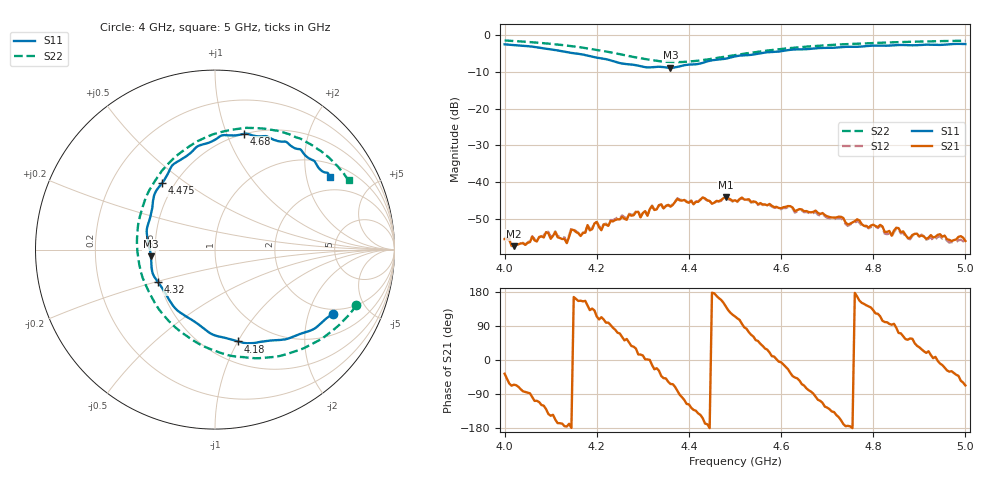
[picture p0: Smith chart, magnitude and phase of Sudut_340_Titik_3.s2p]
# Hz S RI R 50
! CMT, C1220, 16058040, 17.2.0/1
! Date: 15/08/2018 12:42:29
! Data: Format (Calibration Info)
! Freq  S11: Re/Im (F2)  S21: Re/Im (F2)  S12: Re/Im (F2)  S22: Re/Im (F2)
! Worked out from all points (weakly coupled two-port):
!   201 points, 4 GHz to 5 GHz, reference 50 ohm
!   highest |S21| = -44.10 dB at 4.48 GHz (marker M1); lowest = -57.4 dB at 4.02 GHz (marker M2)
!   lowest |S11| = -8.9 dB at 4.36 GHz (marker M3), VSWR 2.12, Z = 23.6 - j2.06 ohm
!   |S11| at or under -10 dB: nowhere
!   |S22| runs from -7.3 to -1.5 dB; largest |S21 - S12| = 0.00023
!   S11 on the Smith chart (normalised r, x): 4 GHz: 1.80, -2.92; 4.18 GHz: 0.71, -1.00; 4.32 GHz: 0.49, -0.20; 4.475 GHz: 0.43, +0.41; 4.68 GHz: 0.50, +1.15; 5 GHz: 1.45, +2.75
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4e9  0.6584 -0.3571  0.00136 -0.000995  0.0015 -0.000959  0.7868 -0.3107
4.02e9  0.6215 -0.3822  0.000568 -0.00123  0.000655 -0.00123  0.7529 -0.3558
4.09e9  0.4416 -0.4829  -0.00134 -0.00162  -0.00127 -0.00176  0.5888 -0.4999
4.135e9  0.292 -0.5088  -0.00148 -0.000117  -0.00152 -0.000143  0.4426 -0.5679
4.145e9  0.2522 -0.5141  -0.00228 -3.12e-05  -0.00239 -8.53e-05  0.4052 -0.5804
4.17e9  0.1608 -0.52  -0.00185 0.00087  -0.00187 0.000881  0.3089 -0.6001
4.18e9  0.1279 -0.5117  -0.00211 0.00154  -0.00217 0.00146  0.2667 -0.6032
4.2e9  0.0543 -0.4912  -0.00121 0.00261  -0.00128 0.00258  0.1816 -0.602
4.21e9  0.0164 -0.483  -0.000869 0.00205  -0.000957 0.00211  0.1378 -0.5979
4.255e9  -0.1346 -0.3881  0.00165 0.00297  0.00172 0.0031  -0.0608 -0.5396
4.31e9  -0.2914 -0.2183  0.00351 9.16e-05  0.00352 5.67e-05  -0.2758 -0.3772
4.32e9  -0.3179 -0.1814  0.00461 -0.0011  0.00467 -0.00115  -0.3085 -0.338
4.335e9  -0.3475 -0.1318  0.00429 -0.00232  0.00423 -0.00238  -0.3487 -0.2726
4.36e9  -0.3571 -0.0379  0.00208 -0.00416  0.00209 -0.00424  -0.403 -0.1577
4.375e9  -0.3681 0.0324  0.000901 -0.00586  0.000927 -0.00597  -0.4221 -0.0835
4.475e9  -0.2973 0.369  -0.0053 0.00293  -0.00519 0.00306  -0.3418 0.37
4.48e9  -0.2844 0.3846  -0.0049 0.00387  -0.00469 0.00389  -0.3305 0.3887
4.5e9  -0.2508 0.4483  -0.0024 0.00514  -0.00232 0.00508  -0.2832 0.4537
4.67e9  0.1426 0.6408  8.04e-05 -0.00395  4.78e-05 -0.00381  0.2026 0.678
4.68e9  0.1609 0.6451  -0.000984 -0.00369  -0.000925 -0.00348  0.2294 0.6767
4.835e9  0.4467 0.564  -0.0002 0.00217  -0.000169 0.00199  0.547 0.5778
5e9  0.6388 0.4051  0.000617 -0.00147  0.000625 -0.00135  0.7451 0.3855
